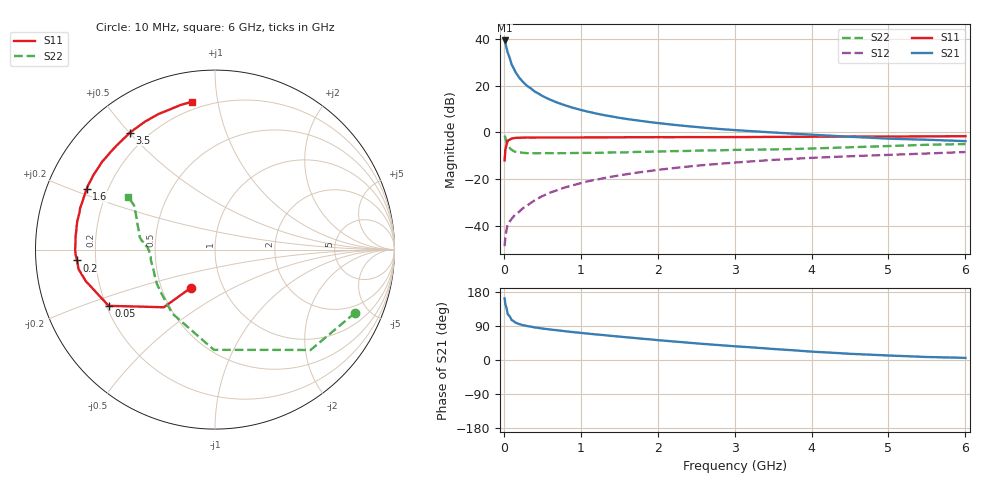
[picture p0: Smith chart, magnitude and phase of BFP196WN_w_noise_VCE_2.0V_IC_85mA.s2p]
! Infineon Technologies  Discrete & RF Semiconductors
! BFP196WN
! VCE =  2.0 V,  IC =  85 mA
! Common Emitter S-Parameters:  Jan 2017
# GHz  S  MA  R  50
!  f  S11  S21  S12  S22
! GHz  MAG  ANG  MAG  ANG  MAG  ANG  MAG  ANG
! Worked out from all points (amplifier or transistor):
!   77 points, 10 MHz to 6 GHz, reference 50 ohm
!   highest |S21| = 39.4 dB at 10 MHz (marker M1)
!   |S21| within 3 dB of that: start of sweep to 33.61 MHz
!   unconditionally stable (mu >= 1): 398.5 MHz to 2.859 GHz
!   at 130 MHz: K = 0.71, MSG = 31.5 dB, |S12| = -35.8 dB
!   at 2.2 GHz: K = 1.02, MAG = 8.4 dB, |S12| = -15.3 dB
!   at 6 GHz: K = 0.94, MSG = 2.3 dB, |S12| = -8.3 dB
!   lowest NFmin = 1.64 dB at 450 MHz
!   S11 on the Smith chart (normalised r, x): 10 MHz: 0.70, -0.32; 50 MHz: 0.21, -0.24; 200 MHz: 0.13, -0.04; 1.6 GHz: 0.12, +0.22; 3.5 GHz: 0.13, +0.50; 6 GHz: 0.16, +0.84
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0.01  0.2529 -122.4  93.09 162.7  0.0037 73.0  0.8562 -24.3
0.02  0.4296 -131.6  80.92 146.9  0.0058 67.1  0.7722 -46.4
0.05  0.6701 -152.1  51.32 120.9  0.0108 50.8  0.5585 -90.6
0.1  0.7412 -166.3  28.68 105.5  0.0141 53.0  0.4283 -123.8
0.15  0.7681 -171.9  19.73 98.8  0.0177 55.1  0.3865 -140.3
0.2  0.771 -175.5  14.9 94.8  0.0202 61.6  0.3756 -149.6
0.25  0.777 -177.9  12 91.9  0.0242 63.5  0.368 -155.2
0.3  0.7792 -179.9  10.03 89.7  0.0269 66.0  0.3621 -159.9
0.4  0.7785 176.9  7.559 86.0  0.0353 69.3  0.3599 -164.9
0.5  0.7801 174.5  6.052 83.1  0.0434 70.9  0.3612 -168.6
0.6  0.7801 172.2  5.055 80.5  0.0516 70.7  0.3622 -171.4
0.7  0.782 170.2  4.33 78.3  0.0588 71.8  0.3603 -173.3
0.9  0.7826 166.2  3.37 73.6  0.0745 71.3  0.3638 -176.0
1.1  0.7864 162.9  2.773 69.5  0.091 70.8  0.3664 -178.3
1.3  0.7858 159.4  2.356 65.7  0.1056 69.5  0.3702 -179.7
1.6  0.791 154.7  1.945 59.9  0.1283 67.4  0.3768 177.9
2.1  0.7942 146.8  1.529 50.8  0.1654 63.2  0.3953 175.1
3.1  0.7984 131.9  1.1 34.9  0.2333 54.0  0.4267 169.9
3.5  0.806 126.0  1.001 29.1  0.2591 50.5  0.4343 167.0
4.1  0.8129 117.6  0.88 21.0  0.2913 44.9  0.4596 160.6
5.1  0.8215 106.9  0.73 11.1  0.3365 36.9  0.5196 151.0
6  0.8337 99.0  0.654 5.6  0.3824 30.8  0.5657 148.9
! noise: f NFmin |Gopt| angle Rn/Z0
0.45  1.64  0.59  -175  0.05
0.9  1.77  0.6  -168  0.07
1.9  2.75  0.7  -146  0.22
2.4  3.53  0.72  -138  0.37
